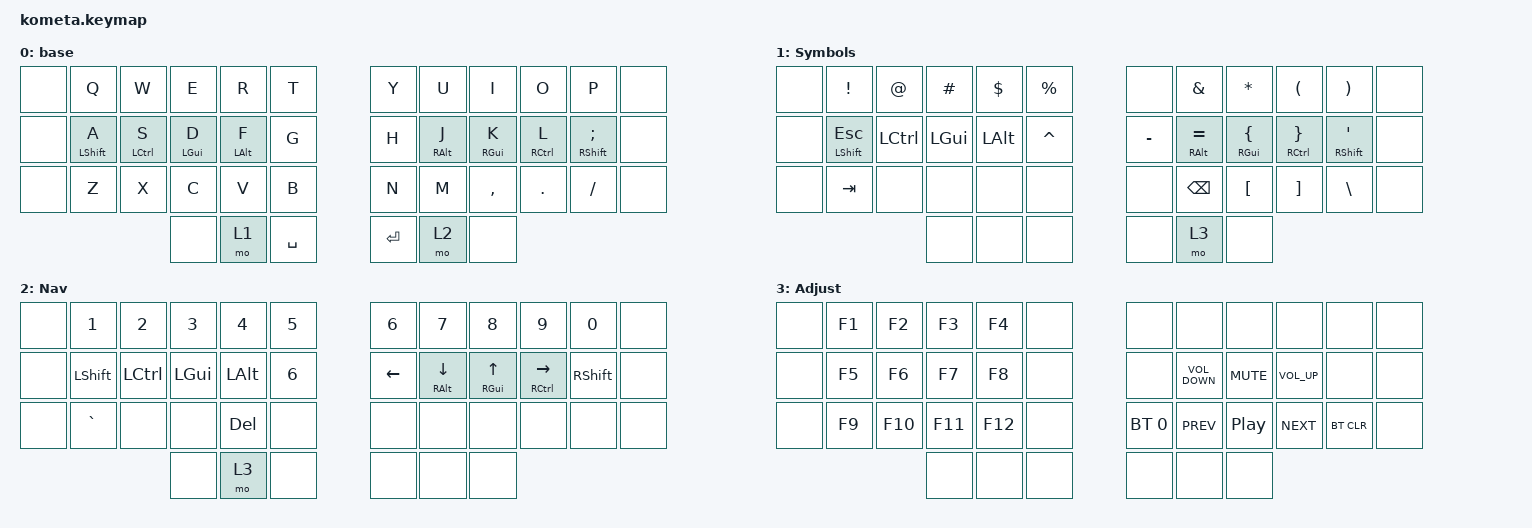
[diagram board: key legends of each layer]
#include <behaviors.dtsi>
#include <dt-bindings/zmk/bt.h>
#include <dt-bindings/zmk/keys.h>

/ {
    behaviors {
        hml: home_row_mod_left {
            compatible = "zmk,behavior-hold-tap";
            #binding-cells = <2>;
            flavor = "balanced";
            tapping-term-ms = <200>;
            quick-tap-ms = <150>;
            bindings = <&kp>, <&kp>;

            require-prior-idle-ms = <50>;
            hold-trigger-on-release;
            hold-trigger-key-positions = <39 41 31 30 18 19 22 20 32 33 34 6 7 8 9 10 21>;
        };

        hmr: home_row_mod_right {
            compatible = "zmk,behavior-hold-tap";
            #binding-cells = <2>;
            flavor = "balanced";
            tapping-term-ms = <200>;
            quick-tap-ms = <150>;
            bindings = <&kp>, <&kp>;

            require-prior-idle-ms = <50>;
            hold-trigger-on-release;
            hold-trigger-key-positions = <1 2 3 4 5 13 14 15 16 17 25 26 27 28 29 36 37>;
        };
    };

    combos {
        compatible = "zmk,combos";

        esc {
            bindings = <&kp ESCAPE>;
            key-positions = <15 20>;
        };

        caps {
            bindings = <&kp CAPSLOCK>;
            key-positions = <13 22>;
        };

        lang {
            bindings = <&kp LG(SPACE)>;
            key-positions = <3 8>;
        };
    };

    keymap {
        compatible = "zmk,keymap";

        en {
            display-name = "base";
            bindings = <
&none  &kp Q              &kp W                &kp E            &kp R            &kp T      &kp Y      &kp U             &kp I             &kp O                 &kp P                       &none
&none  &hml LEFT_SHIFT A  &hml LEFT_CONTROL S  &hml LEFT_GUI D  &hml LEFT_ALT F  &kp G      &kp H      &hmr RIGHT_ALT J  &hmr RIGHT_GUI K  &hmr RIGHT_CONTROL L  &hmr RIGHT_SHIFT SEMICOLON  &none
&none  &kp Z              &kp X                &kp C            &kp V            &kp B      &kp N      &kp M             &kp COMMA         &kp DOT               &kp FSLH                    &none
                                               &none            &mo 1            &kp SPACE  &kp ENTER  &mo 2             &none
            >;
        };

        sym_en {
            display-name = "Symbols";
            bindings = <
&none  &kp EXCL                &kp AT            &kp HASH      &kp DOLLAR    &kp PERCENT  &none      &kp AMPERSAND         &kp ASTERISK               &kp LEFT_PARENTHESIS            &kp RIGHT_PARENTHESIS  &none
&none  &hml LEFT_SHIFT ESCAPE  &kp LEFT_CONTROL  &kp LEFT_GUI  &kp LEFT_ALT  &kp CARET    &kp MINUS  &hmr RIGHT_ALT EQUAL  &hmr RIGHT_GUI LEFT_BRACE  &hmr RIGHT_CONTROL RIGHT_BRACE  &hmr RIGHT_SHIFT SQT   &none
&none  &kp TAB                 &none             &none         &none         &none        &none      &kp BACKSPACE         &kp LEFT_BRACKET           &kp RIGHT_BRACKET               &kp BACKSLASH          &none
                                                 &none         &none         &none        &none      &mo 3                 &none
            >;
        };

        nav {
            display-name = "Nav";
            bindings = <
&none  &kp N1          &kp N2            &kp N3        &kp N4        &kp N5        &kp N6    &kp N7                     &kp N8                   &kp N9                    &kp N0           &none
&none  &kp LEFT_SHIFT  &kp LEFT_CONTROL  &kp LEFT_GUI  &kp LEFT_ALT  &kp NUMBER_6  &kp LEFT  &hmr RIGHT_ALT DOWN_ARROW  &hmr RIGHT_GUI UP_ARROW  &hmr RIGHT_CONTROL RIGHT  &kp RIGHT_SHIFT  &none
&none  &kp GRAVE       &none             &none         &kp DELETE    &none         &none     &none                      &none                    &none                     &none            &none
                                         &none         &mo 3         &none         &none     &none                      &none
            >;
        };

        adj {
            display-name = "Adjust";
            bindings = <
&none  &kp F1  &kp F2   &kp F3   &kp F4   &none  &none         &none              &none       &none            &none       &none
&none  &kp F5  &kp F6   &kp F7   &kp F8   &none  &none         &kp C_VOLUME_DOWN  &kp K_MUTE  &kp C_VOLUME_UP  &none       &none
&none  &kp F9  &kp F10  &kp F11  &kp F12  &none  &bt BT_SEL 0  &kp C_PREV         &kp C_PP    &kp C_NEXT       &bt BT_CLR  &none
                        &none    &none    &none  &none         &none              &none
            >;
        };
    };
};
